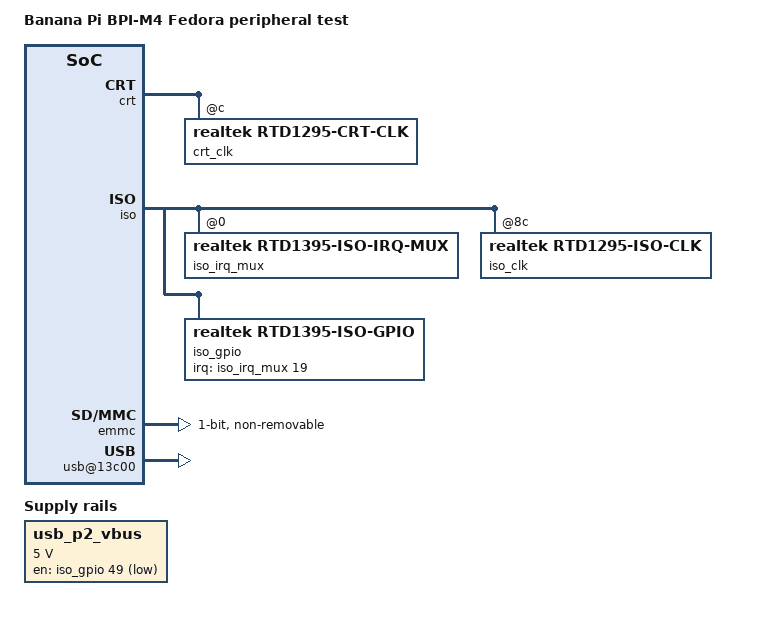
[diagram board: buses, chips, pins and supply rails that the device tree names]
// SPDX-License-Identifier: (GPL-2.0-or-later OR BSD-2-Clause)
// Pinned Armbian 0034/0040/0047/0051/0054/0059, isolated activation profiles.
// RTD1395 ISO interrupt mux source 2 is UART0 (pinned Armbian 0030).
&uart0 { interrupts-extended = <&iso_irq_mux 2>; };
#include <dt-bindings/gpio/gpio.h>
/ {
    model = "Banana Pi BPI-M4 Fedora peripheral test";
    usb_p2_vbus: regulator-usb-p2-vbus {
        compatible = "regulator-fixed";
        regulator-name = "usb_p2_vbus";
        regulator-min-microvolt = <5000000>;
        regulator-max-microvolt = <5000000>;
        gpio = <&iso_gpio 49 GPIO_ACTIVE_LOW>;
        regulator-always-on;
        status = "okay";
    };
    chosen {
        #address-cells = <1>; #size-cells = <1>; ranges;
        framebuffer@14200000 {
            compatible = "simple-framebuffer";
            reg = <0x14200000 0x007e9000>;
            width = <1920>; height = <1080>; stride = <7680>;
            format = "x8b8g8r8";
            status = "disabled";
        };
    };
};
&rpc_comm { no-map; };
&rpc_ringbuf { no-map; };
&crt {
    crt_clk: clock-controller@c {
        compatible = "realtek,rtd1295-crt-clk";
        reg = <0xc 0x8>; #clock-cells = <1>;
        status = "okay";
    };
};
&iso {
    iso_irq_mux: interrupt-controller@0 {
        compatible = "realtek,rtd1395-iso-irq-mux";
        reg = <0x0 0x4>, <0x40 0x4>;
        interrupts = <GIC_SPI 41 IRQ_TYPE_LEVEL_HIGH>;
        interrupt-controller; #interrupt-cells = <1>; #address-cells = <0>;
        status = "okay";
    };
    iso_clk: clock-controller@8c {
        compatible = "realtek,rtd1295-iso-clk";
        reg = <0x8c 0x4>; #clock-cells = <1>;
        status = "okay";
    };
    iso_gpio: gpio@100 {
        compatible = "realtek,rtd1395-iso-gpio";
        reg = <0x100 0x100>, <0x0 0xe8>;
        bananapi,shared-iso-irq-window;
        interrupt-parent = <&iso_irq_mux>;
        interrupts = <19>, <20>;
        gpio-controller; #gpio-cells = <2>;
        status = "okay";
    };
};
&rbus {
    emmc: mmc@12000 {
        compatible = "bananapi,bpi-m4-emmc-test", "realtek,rtd1395-emmc";
        reg = <0x12000 0x600>;
        interrupts = <GIC_SPI 42 IRQ_TYPE_LEVEL_HIGH>;
        clocks = <&crt_clk 24>, <&crt_clk 28>;
        clock-names = "biu", "ip";
        realtek,sb2 = <&sb2>; realtek,crt = <&crt>;
        bus-width = <1>; max-frequency = <20000000>; non-removable;
        status = "okay";
    };
    usb_u2host_usb2phy: usb-phy@13c14 {
        compatible = "realtek,rtd1395-usb2phy-2port";
        reg = <0x13c14 0x4>, <0x31280 0x8>; #phy-cells = <0>;
        status = "okay";
    };
    usb@13c00 {
        compatible = "realtek,rtd1395-dwc3", "realtek,rtd-dwc3";
        reg = <0x13c00 0x140>, <0x13d60 0x4>;
        #address-cells = <1>; #size-cells = <1>; ranges;
        status = "okay";
        usb@29000 {
            compatible = "snps,dwc3";
            reg = <0x29000 0x9000>;
            interrupts = <GIC_SPI 21 IRQ_TYPE_LEVEL_HIGH>;
            clocks = <&iso_clk 16>, <&iso_clk 14>, <&iso_clk 15>;
            clock-names = "bus_early", "ref", "suspend";
            resets = <&iso_reset 14>, <&iso_reset 15>, <&iso_reset 16>,
                     <&iso_reset 17>, <&iso_reset 18>, <&iso_reset 19>, <&iso_reset 20>;
            phys = <&usb_u2host_usb2phy>; phy-names = "usb2-phy";
            dr_mode = "host"; maximum-speed = "high-speed";
            snps,dis_u2_susphy_quirk;
        };
    };
    acpu: audio-cpu@1a104 {
        compatible = "realtek,rtd1395-acpu", "realtek,rtd1295-acpu";
        reg = <0x1a104 0xc>;
        interrupts = <GIC_SPI 33 IRQ_TYPE_LEVEL_HIGH>;
        memory-region = <&rpc_comm>, <&rpc_ringbuf>, <&fc_audio_heap>, <&fc_media_heap>, <&fc_audio_fw>;
        memory-region-names = "comm", "ring", "audio", "media", "firmware";
        realtek,hdmi-audio-out;
        status = "disabled";
    };
};
